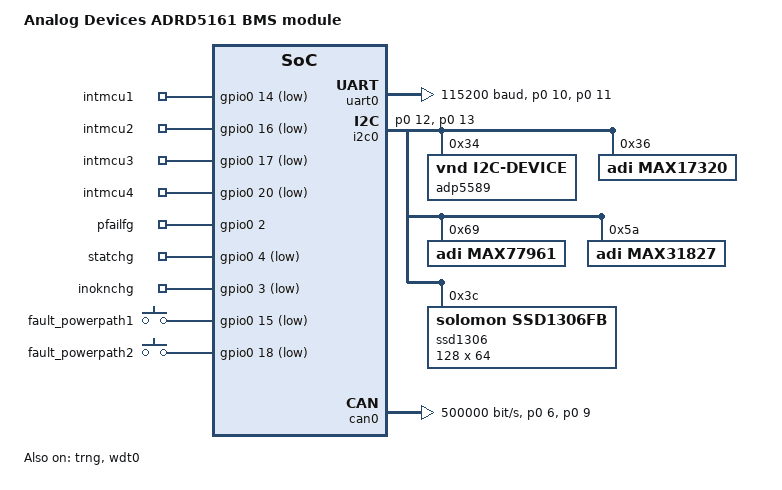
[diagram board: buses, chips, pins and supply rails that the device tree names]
/dts-v1/;

#include <adi/max32/max32662.dtsi>
#include <adi/max32/max32662-pinctrl.dtsi>
#include <zephyr/dt-bindings/gpio/adi-max32-gpio.h>

/ {
	soc {
		sram_all: memory@20000000 {
			compatible = "mmio-sram";
			reg = <0x20000000 DT_SIZE_K(80)>;
		};
    };
};

/ {
    model = "Analog Devices ADRD5161 BMS module";
    compatible = "adi,adrd5161";

    chosen {
	zephyr,console = &uart0;
	zephyr,shell-uart = &uart0;
	zephyr,sram = &sram_all;
	zephyr,flash = &flash0;
	zephyr,display = &ssd1306;
	zephyr,canbus = &can0;
    };

    aliases {
	watchdog0 = &wdt0;
	intmcu1 = &intmcu1;
	intmcu2 = &intmcu2;
	intmcu3 = &intmcu3;
	intmcu4 = &intmcu4;
	pfailfg = &pfailfg;
	statchg = &statchg;
	inoknchg = &inoknchg;
	faultpowerpath1 = &fault_powerpath1;
	faultpowerpath2 = &fault_powerpath2;
	shdnpowerpath = &shdnpowerpath;
    };
    gpio_keys {
	compatible = "gpio-keys";
	intmcu1: intmcu_1 {
		gpios = <&gpio0 14 GPIO_ACTIVE_LOW>;
	};
	intmcu2: intmcu_2 {
		gpios = <&gpio0 16 GPIO_ACTIVE_LOW>;
	};
	intmcu3: intmcu_3 {
		gpios = <&gpio0 17 GPIO_ACTIVE_LOW>;
	};
	intmcu4: intmcu_4 {
		gpios = <&gpio0 20 GPIO_ACTIVE_LOW>;
	};
	pfailfg: pfail_fg {
		gpios = <&gpio0 2 GPIO_ACTIVE_HIGH>;
	};
	statchg: stat_chg {
		gpios = <&gpio0 4 GPIO_ACTIVE_LOW>;
	};
	inoknchg: inokn_chg {
		gpios = <&gpio0 3 GPIO_ACTIVE_LOW>; 
	};
	fault_powerpath1: fault_powerpath_1 {
		gpios = <&gpio0 15 GPIO_ACTIVE_LOW>;
	};
	fault_powerpath2: fault_powerpath_2 {
		gpios = <&gpio0 18 GPIO_ACTIVE_LOW>;
	};
    };
   gpio_outputs {
	compatible = "gpio-outputs";
	shdnpowerpath: shdn_powerpath {
		gpios =<&gpio0 5 GPIO_ACTIVE_LOW>; 
   	};
    };
};

&clk_erfo {
    clock-frequency = < 24576000 >;
};

/* UART0 - debug (A) / TMC (B) UART */
&uart0 {
    pinctrl-0 = <&uart0a_tx_p0_10 &uart0a_rx_p0_11>;
    pinctrl-names = "default";
    current-speed = <115200>;
    data-bits = <8>;
    parity = "none";
    status = "okay";
};

&i2c0 {
	status = "okay";
	pinctrl-0 = <&i2c0a_scl_p0_12 &i2c0a_sda_p0_13>;
	pinctrl-names = "default";

    /* GPIO extender */
	adp5589: adp5589@34 {
		compatible = "vnd,i2c-device";
		status = "okay";
		reg = <0x34>;
	};

    /* Fuel gauge. FIXME multiple I2C addresses relevant */
	max17320: max17320@36 {
		compatible = "adi,max17320";
		status = "okay";
		reg = <0x36>;
    	};
 
	max77961: max77961@69 {
		compatible = "adi,max77961";
		status = "okay";
		reg = <0x69>;
	};

	max31827: max31827@5a {
		compatible = "adi,max31827";
		status = "okay";
		reg = <0x5a>;
	};
	ssd1306: ssd1306@3c {
		compatible = "solomon,ssd1306fb";
		reg = <0x3c>;
		status = "okay";
		width = <128>;
		height = <64>;
		segment-offset = <0>;
		page-offset = <0>;
		display-offset = <0>;
		multiplex-ratio = <63>;
		prechargep = <0x22>;
		com-invdir;
		segment-remap;
	};
};

&can0 {
    status = "okay";
    pinctrl-0 = <&can0b_rx_p0_6 &can0b_tx_p0_9>;
    pinctrl-names = "default";
    bitrate = <500000>;
    sample-point = <850>;
    zephyr,deferred-init;
};

&clk_ipo {
    status = "okay";
};

&dma0 {
    status = "okay";
};

&gpio0 {
    status = "okay";
};

&trng {
    status = "okay";
};

&wdt0 {
    status = "okay";
};

&clk_ertco {
    status = "okay";
};

/* adi-innersource: rtc
   zephyrprojext-rtos: rtc_clock */
/*
&rtc {
    status = "okay";
};*/
